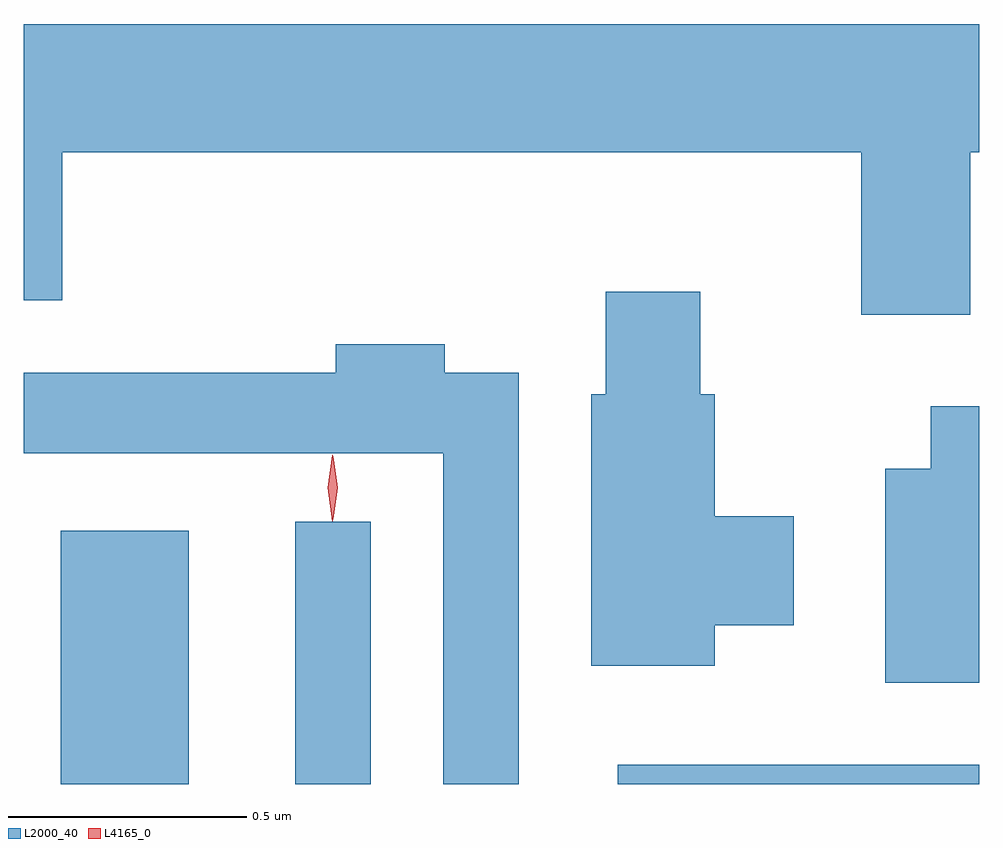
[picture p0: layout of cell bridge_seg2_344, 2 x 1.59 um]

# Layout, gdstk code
import gdstk
lib = gdstk.Library(unit=1e-6, precision=1e-09)
def R(c, l, rs):  # rectangles x0, y0, x1, y1
    for r in rs: c.add(gdstk.rectangle(r[:2], r[2:], *l))
def P(c, l, *ps):  # polygons
    for p in ps: c.add(gdstk.Polygon(p, *l))
L2000_40 = (2000, 40)
L4165_0 = (4165, 0)

bridge_seg2_344 = lib.new_cell('bridge_seg2_344')
R(bridge_seg2_344, L2000_40, [(439.856,1044.774,440.124,1045.304), (440.346,1044.774,440.504,1045.323), (441.021,1044.774,441.778,1044.814)])
P(bridge_seg2_344, L2000_40, [(441.759,1046.096),(441.778,1046.096),(441.778,1046.364),(439.778,1046.364),(439.778,1045.786),(439.859,1045.786),(439.859,1046.096),(441.531,1046.096),(441.531,1045.756),(441.759,1045.756)],
  [(441.224,1045.106),(441.389,1045.106),(441.389,1045.334),(441.224,1045.334),(441.224,1045.589),(441.194,1045.589),(441.194,1045.804),(440.996,1045.804),(440.996,1045.589),(440.966,1045.589),(440.966,1045.021),(441.224,1045.021)],
  [(440.814,1045.634),(440.659,1045.634),(440.659,1045.694),(440.431,1045.694),(440.431,1045.634),(439.778,1045.634),(439.778,1045.466),(440.656,1045.466),(440.656,1044.774),(440.814,1044.774)],
  [(441.778,1045.564),(441.676,1045.564),(441.676,1045.434),(441.581,1045.434),(441.581,1044.986),(441.778,1044.986)])
P(bridge_seg2_344, L4165_0, [(440.424,1045.324),(440.415,1045.394),(440.424,1045.462),(440.425,1045.463),(440.425,1045.462),(440.435,1045.394),(440.425,1045.324),(440.425,1045.324)],
  [(440.425,1045.327),(440.425,1045.328),(440.415,1045.394),(440.425,1045.46),(440.425,1045.46),(440.426,1045.46),(440.435,1045.394),(440.426,1045.328)])

lib.write_gds('bridge_seg2_344.gds')
